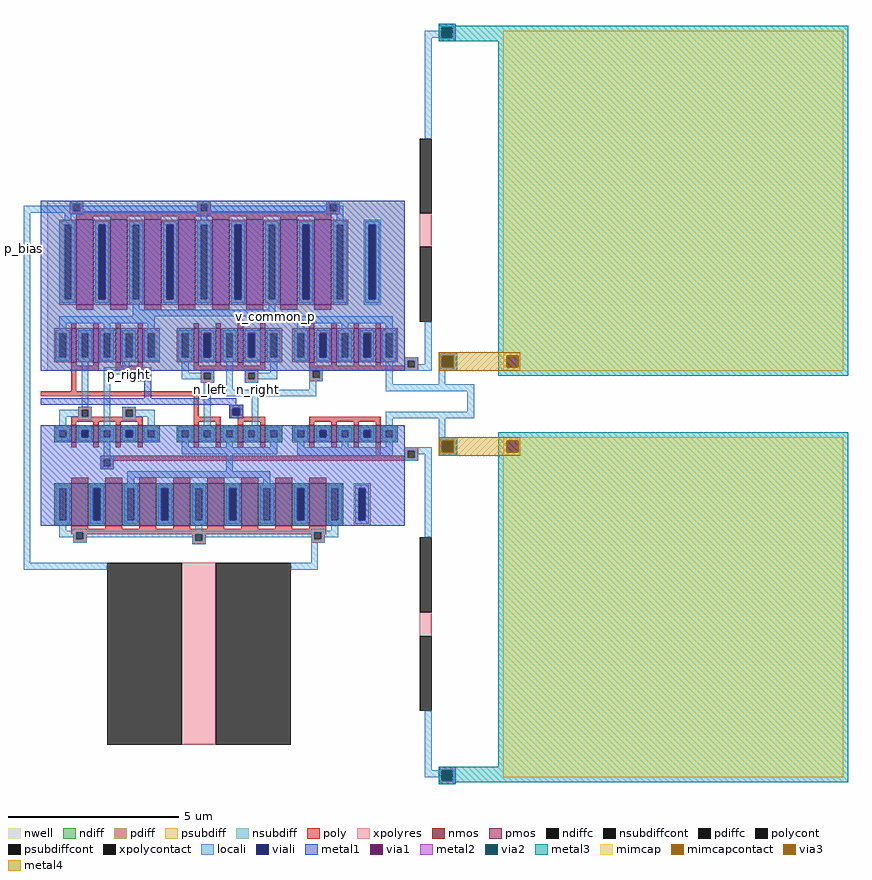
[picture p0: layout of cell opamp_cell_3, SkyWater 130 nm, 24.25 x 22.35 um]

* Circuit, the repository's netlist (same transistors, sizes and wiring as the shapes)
* NGSPICE file created from opamp_cell_3.ext - technology: sky130A

**.subckt opamp_cell_3
X0 w_8020_4370# n_left n_left w_8020_4370# sky130_fd_pr__pfet_01v8 ad=0.25 pd=1.5 as=0.5 ps=3 w=1 l=0.15
X1 a_8190_3950# p_right a_9460_3950# a_8190_3950# sky130_fd_pr__nfet_01v8 ad=0.125 pd=1 as=0.25 ps=2 w=0.5 l=0.15
X2 a_8190_3950# a_8060_3950# a_8060_3950# a_8190_3950# sky130_fd_pr__nfet_01v8 ad=0.125 pd=1 as=0.25 ps=2 w=0.5 l=0.15
X3 a_9460_3950# n_right w_8020_4370# w_8020_4370# sky130_fd_pr__pfet_01v8 ad=0.25 pd=1.5 as=0.25 ps=1.5 w=1 l=0.15
X4 v_common_p p_bias w_8020_4370# w_8020_4370# sky130_fd_pr__pfet_01v8 ad=0.625 pd=3 as=0.625 ps=3 w=2.5 l=0.5
X5 v_common_p a_7980_4220# a_8060_3950# w_8020_4370# sky130_fd_pr__pfet_01v8 ad=0.25 pd=1.5 as=0.25 ps=1.5 w=1 l=0.15
X6 p_bias p_bias w_8020_4370# w_8020_4370# sky130_fd_pr__pfet_01v8 ad=1.25 pd=6 as=0.625 ps=3 w=2.5 l=0.5
X7 a_8460_3460# a_8060_3460# a_8190_3950# a_8190_3950# sky130_fd_pr__nfet_01v8 ad=0.3125 pd=1.75 as=0.3125 ps=1.75 w=1.25 l=0.5
X8 w_8020_4370# n_right a_9460_3950# w_8020_4370# sky130_fd_pr__pfet_01v8 ad=0.25 pd=1.5 as=0.5 ps=3 w=1 l=0.15
X9 a_8060_3460# a_8060_3460# a_8190_3950# a_8190_3950# sky130_fd_pr__nfet_01v8 ad=0.625 pd=3.5 as=0.3125 ps=1.75 w=1.25 l=0.5
X10 w_8020_4370# p_bias p_bias w_8020_4370# sky130_fd_pr__pfet_01v8 ad=0.625 pd=3 as=1.25 ps=6 w=2.5 l=0.5
X11 w_8020_4370# p_bias v_common_p w_8020_4370# sky130_fd_pr__pfet_01v8 ad=0.625 pd=3 as=0.625 ps=3 w=2.5 l=0.5
X12 w_8020_4370# p_bias p_bias w_8020_4370# sky130_fd_pr__pfet_01v8 ad=0.625 pd=3 as=0.625 ps=3 w=2.5 l=0.5
X13 a_8060_3950# a_7980_4220# v_common_p w_8020_4370# sky130_fd_pr__pfet_01v8 ad=0.25 pd=1.5 as=0.5 ps=3 w=1 l=0.15
X14 a_8190_3950# a_8060_3460# a_8060_3460# a_8190_3950# sky130_fd_pr__nfet_01v8 ad=0.3125 pd=1.75 as=0.625 ps=3.5 w=1.25 l=0.5
X15 a_9460_3950# p_right a_8190_3950# a_8190_3950# sky130_fd_pr__nfet_01v8 ad=0.25 pd=2 as=0.125 ps=1 w=0.5 l=0.15
X16 a_8190_3950# a_8060_3460# a_8460_3460# a_8190_3950# sky130_fd_pr__nfet_01v8 ad=0.3125 pd=1.75 as=0.3125 ps=1.75 w=1.25 l=0.5
X17 a_8190_3950# a_8060_3460# a_8060_3460# a_8190_3950# sky130_fd_pr__nfet_01v8 ad=0.3125 pd=1.75 as=0.3125 ps=1.75 w=1.25 l=0.5
X18 a_8060_3950# a_8060_3950# a_8190_3950# a_8190_3950# sky130_fd_pr__nfet_01v8 ad=0.25 pd=2 as=0.125 ps=1 w=0.5 l=0.15
X19 p_right a_10210_2370# a_8190_3950# sky130_fd_pr__res_xhigh_po_0p35 l=0.86
X20 a_8460_3460# w_8020_4370# n_right a_8190_3950# sky130_fd_pr__nfet_01v8 ad=0.25 pd=2 as=0.125 ps=1 w=0.5 l=0.15
X21 a_9460_3950# a_10210_2370# sky130_fd_pr__cap_mim_m3_1 l=10 w=10
X22 a_8190_3950# p_right a_9460_3950# a_8190_3950# sky130_fd_pr__nfet_01v8 ad=0.125 pd=1 as=0.125 ps=1 w=0.5 l=0.15
X23 a_9460_3950# a_10210_5296# sky130_fd_pr__cap_mim_m3_1 l=10 w=10
X24 a_8190_3950# a_8060_3950# p_right a_8190_3950# sky130_fd_pr__nfet_01v8 ad=0.125 pd=1 as=0.125 ps=1 w=0.5 l=0.15
X25 a_9460_3950# n_right w_8020_4370# w_8020_4370# sky130_fd_pr__pfet_01v8 ad=0.5 pd=3 as=0.25 ps=1.5 w=1 l=0.15
X26 n_right w_8020_4370# a_8460_3460# a_8190_3950# sky130_fd_pr__nfet_01v8 ad=0.125 pd=1 as=0.125 ps=1 w=0.5 l=0.15
X27 p_bias a_8060_3460# a_8190_3950# sky130_fd_pr__res_xhigh_po w=5.35 l=1.16
X28 v_common_p w_8020_4370# p_right w_8020_4370# sky130_fd_pr__pfet_01v8 ad=0.5 pd=3 as=0.25 ps=1.5 w=1 l=0.15
X29 w_8020_4370# p_bias v_common_p w_8020_4370# sky130_fd_pr__pfet_01v8 ad=0.625 pd=3 as=0.625 ps=3 w=2.5 l=0.5
X30 n_left n_left w_8020_4370# w_8020_4370# sky130_fd_pr__pfet_01v8 ad=0.5 pd=3 as=0.25 ps=1.5 w=1 l=0.15
X31 w_8020_4370# n_right a_9460_3950# w_8020_4370# sky130_fd_pr__pfet_01v8 ad=0.25 pd=1.5 as=0.25 ps=1.5 w=1 l=0.15
X32 a_8460_3460# a_7980_4220# n_left a_8190_3950# sky130_fd_pr__nfet_01v8 ad=0.125 pd=1 as=0.125 ps=1 w=0.5 l=0.15
X33 a_10210_5296# n_right a_8190_3950# sky130_fd_pr__res_xhigh_po_0p35 l=1.14
X34 a_8190_3950# a_8060_3460# a_8460_3460# a_8190_3950# sky130_fd_pr__nfet_01v8 ad=0.3125 pd=1.75 as=0.3125 ps=1.75 w=1.25 l=0.5
X35 v_common_p p_bias w_8020_4370# w_8020_4370# sky130_fd_pr__pfet_01v8 ad=0.625 pd=3 as=0.625 ps=3 w=2.5 l=0.5
X36 p_right w_8020_4370# v_common_p w_8020_4370# sky130_fd_pr__pfet_01v8 ad=0.25 pd=1.5 as=0.25 ps=1.5 w=1 l=0.15
X37 n_left a_7980_4220# a_8460_3460# a_8190_3950# sky130_fd_pr__nfet_01v8 ad=0.125 pd=1 as=0.25 ps=2 w=0.5 l=0.15
X38 p_bias p_bias w_8020_4370# w_8020_4370# sky130_fd_pr__pfet_01v8 ad=0.625 pd=3 as=0.625 ps=3 w=2.5 l=0.5
X39 w_8020_4370# n_left n_right w_8020_4370# sky130_fd_pr__pfet_01v8 ad=0.25 pd=1.5 as=0.25 ps=1.5 w=1 l=0.15
X40 a_8460_3460# a_8060_3460# a_8190_3950# a_8190_3950# sky130_fd_pr__nfet_01v8 ad=0.3125 pd=1.75 as=0.3125 ps=1.75 w=1.25 l=0.5
X41 a_9460_3950# p_right a_8190_3950# a_8190_3950# sky130_fd_pr__nfet_01v8 ad=0.125 pd=1 as=0.125 ps=1 w=0.5 l=0.15
X42 a_8060_3460# a_8060_3460# a_8190_3950# a_8190_3950# sky130_fd_pr__nfet_01v8 ad=0.3125 pd=1.75 as=0.3125 ps=1.75 w=1.25 l=0.5
X43 p_right a_8060_3950# a_8190_3950# a_8190_3950# sky130_fd_pr__nfet_01v8 ad=0.125 pd=1 as=0.125 ps=1 w=0.5 l=0.15
X44 n_right n_left w_8020_4370# w_8020_4370# sky130_fd_pr__pfet_01v8 ad=0.25 pd=1.5 as=0.25 ps=1.5 w=1 l=0.15
.ends

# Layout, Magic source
magic
tech sky130A
<< nwell >>
rect 4010 2185 5060 2685
<< nmos >>
rect 4080 1975 4095 2025
rect 4145 1975 4160 2025
rect 4210 1975 4225 2025
rect 4275 1975 4290 2025
rect 4440 1975 4455 2025
rect 4505 1975 4520 2025
rect 4570 1975 4585 2025
rect 4635 1975 4650 2025
rect 4780 1975 4795 2025
rect 4845 1975 4860 2025
rect 4910 1975 4925 2025
rect 4975 1975 4990 2025
rect 4080 1730 4130 1855
rect 4180 1730 4230 1855
rect 4280 1730 4330 1855
rect 4380 1730 4430 1855
rect 4480 1730 4530 1855
rect 4580 1730 4630 1855
rect 4680 1730 4730 1855
rect 4780 1730 4830 1855
<< pmos >>
rect 4095 2380 4145 2630
rect 4195 2380 4245 2630
rect 4295 2380 4345 2630
rect 4395 2380 4445 2630
rect 4495 2380 4545 2630
rect 4595 2380 4645 2630
rect 4695 2380 4745 2630
rect 4795 2380 4845 2630
rect 4080 2210 4095 2310
rect 4145 2210 4160 2310
rect 4210 2210 4225 2310
rect 4275 2210 4290 2310
rect 4440 2210 4455 2310
rect 4505 2210 4520 2310
rect 4570 2210 4585 2310
rect 4635 2210 4650 2310
rect 4780 2210 4795 2310
rect 4845 2210 4860 2310
rect 4910 2210 4925 2310
rect 4975 2210 4990 2310
<< ndiff >>
rect 4030 2010 4080 2025
rect 4030 1990 4045 2010
rect 4065 1990 4080 2010
rect 4030 1975 4080 1990
rect 4095 2010 4145 2025
rect 4095 1990 4110 2010
rect 4130 1990 4145 2010
rect 4095 1975 4145 1990
rect 4160 2010 4210 2025
rect 4160 1990 4175 2010
rect 4195 1990 4210 2010
rect 4160 1975 4210 1990
rect 4225 2010 4275 2025
rect 4225 1990 4240 2010
rect 4260 1990 4275 2010
rect 4225 1975 4275 1990
rect 4290 2010 4340 2025
rect 4290 1990 4305 2010
rect 4325 1990 4340 2010
rect 4290 1975 4340 1990
rect 4390 2010 4440 2025
rect 4390 1990 4405 2010
rect 4425 1990 4440 2010
rect 4390 1975 4440 1990
rect 4455 2010 4505 2025
rect 4455 1990 4470 2010
rect 4490 1990 4505 2010
rect 4455 1975 4505 1990
rect 4520 2010 4570 2025
rect 4520 1990 4535 2010
rect 4555 1990 4570 2010
rect 4520 1975 4570 1990
rect 4585 2010 4635 2025
rect 4585 1990 4600 2010
rect 4620 1990 4635 2010
rect 4585 1975 4635 1990
rect 4650 2010 4700 2025
rect 4650 1990 4665 2010
rect 4685 1990 4700 2010
rect 4650 1975 4700 1990
rect 4730 2010 4780 2025
rect 4730 1990 4745 2010
rect 4765 1990 4780 2010
rect 4730 1975 4780 1990
rect 4795 2010 4845 2025
rect 4795 1990 4810 2010
rect 4830 1990 4845 2010
rect 4795 1975 4845 1990
rect 4860 2010 4910 2025
rect 4860 1990 4875 2010
rect 4895 1990 4910 2010
rect 4860 1975 4910 1990
rect 4925 2010 4975 2025
rect 4925 1990 4940 2010
rect 4960 1990 4975 2010
rect 4925 1975 4975 1990
rect 4990 2010 5040 2025
rect 4990 1990 5005 2010
rect 5025 1990 5040 2010
rect 4990 1975 5040 1990
rect 4030 1840 4080 1855
rect 4030 1745 4045 1840
rect 4065 1745 4080 1840
rect 4030 1730 4080 1745
rect 4130 1840 4180 1855
rect 4130 1745 4145 1840
rect 4165 1745 4180 1840
rect 4130 1730 4180 1745
rect 4230 1840 4280 1855
rect 4230 1745 4245 1840
rect 4265 1745 4280 1840
rect 4230 1730 4280 1745
rect 4330 1840 4380 1855
rect 4330 1745 4345 1840
rect 4365 1745 4380 1840
rect 4330 1730 4380 1745
rect 4430 1840 4480 1855
rect 4430 1745 4445 1840
rect 4465 1745 4480 1840
rect 4430 1730 4480 1745
rect 4530 1840 4580 1855
rect 4530 1745 4545 1840
rect 4565 1745 4580 1840
rect 4530 1730 4580 1745
rect 4630 1840 4680 1855
rect 4630 1745 4645 1840
rect 4665 1745 4680 1840
rect 4630 1730 4680 1745
rect 4730 1840 4780 1855
rect 4730 1745 4745 1840
rect 4765 1745 4780 1840
rect 4730 1730 4780 1745
rect 4830 1840 4880 1855
rect 4830 1745 4845 1840
rect 4865 1745 4880 1840
rect 4830 1730 4880 1745
<< pdiff >>
rect 4045 2615 4095 2630
rect 4045 2395 4060 2615
rect 4080 2395 4095 2615
rect 4045 2380 4095 2395
rect 4145 2615 4195 2630
rect 4145 2395 4160 2615
rect 4180 2395 4195 2615
rect 4145 2380 4195 2395
rect 4245 2615 4295 2630
rect 4245 2395 4260 2615
rect 4280 2395 4295 2615
rect 4245 2380 4295 2395
rect 4345 2615 4395 2630
rect 4345 2395 4360 2615
rect 4380 2395 4395 2615
rect 4345 2380 4395 2395
rect 4445 2615 4495 2630
rect 4445 2395 4460 2615
rect 4480 2395 4495 2615
rect 4445 2380 4495 2395
rect 4545 2615 4595 2630
rect 4545 2395 4560 2615
rect 4580 2395 4595 2615
rect 4545 2380 4595 2395
rect 4645 2615 4695 2630
rect 4645 2395 4660 2615
rect 4680 2395 4695 2615
rect 4645 2380 4695 2395
rect 4745 2615 4795 2630
rect 4745 2395 4760 2615
rect 4780 2395 4795 2615
rect 4745 2380 4795 2395
rect 4845 2615 4895 2630
rect 4845 2395 4860 2615
rect 4880 2395 4895 2615
rect 4845 2380 4895 2395
rect 4030 2295 4080 2310
rect 4030 2225 4045 2295
rect 4065 2225 4080 2295
rect 4030 2210 4080 2225
rect 4095 2295 4145 2310
rect 4095 2225 4110 2295
rect 4130 2225 4145 2295
rect 4095 2210 4145 2225
rect 4160 2295 4210 2310
rect 4160 2225 4175 2295
rect 4195 2225 4210 2295
rect 4160 2210 4210 2225
rect 4225 2295 4275 2310
rect 4225 2225 4240 2295
rect 4260 2225 4275 2295
rect 4225 2210 4275 2225
rect 4290 2295 4340 2310
rect 4290 2225 4305 2295
rect 4325 2225 4340 2295
rect 4290 2210 4340 2225
rect 4390 2295 4440 2310
rect 4390 2225 4405 2295
rect 4425 2225 4440 2295
rect 4390 2210 4440 2225
rect 4455 2295 4505 2310
rect 4455 2225 4470 2295
rect 4490 2225 4505 2295
rect 4455 2210 4505 2225
rect 4520 2295 4570 2310
rect 4520 2225 4535 2295
rect 4555 2225 4570 2295
rect 4520 2210 4570 2225
rect 4585 2295 4635 2310
rect 4585 2225 4600 2295
rect 4620 2225 4635 2295
rect 4585 2210 4635 2225
rect 4650 2295 4700 2310
rect 4650 2225 4665 2295
rect 4685 2225 4700 2295
rect 4650 2210 4700 2225
rect 4730 2295 4780 2310
rect 4730 2225 4745 2295
rect 4765 2225 4780 2295
rect 4730 2210 4780 2225
rect 4795 2295 4845 2310
rect 4795 2225 4810 2295
rect 4830 2225 4845 2295
rect 4795 2210 4845 2225
rect 4860 2295 4910 2310
rect 4860 2225 4875 2295
rect 4895 2225 4910 2295
rect 4860 2210 4910 2225
rect 4925 2295 4975 2310
rect 4925 2225 4940 2295
rect 4960 2225 4975 2295
rect 4925 2210 4975 2225
rect 4990 2295 5040 2310
rect 4990 2225 5005 2295
rect 5025 2225 5040 2295
rect 4990 2210 5040 2225
<< ndiffc >>
rect 4045 1990 4065 2010
rect 4110 1990 4130 2010
rect 4175 1990 4195 2010
rect 4240 1990 4260 2010
rect 4305 1990 4325 2010
rect 4405 1990 4425 2010
rect 4470 1990 4490 2010
rect 4535 1990 4555 2010
rect 4600 1990 4620 2010
rect 4665 1990 4685 2010
rect 4745 1990 4765 2010
rect 4810 1990 4830 2010
rect 4875 1990 4895 2010
rect 4940 1990 4960 2010
rect 5005 1990 5025 2010
rect 4045 1745 4065 1840
rect 4145 1745 4165 1840
rect 4245 1745 4265 1840
rect 4345 1745 4365 1840
rect 4445 1745 4465 1840
rect 4545 1745 4565 1840
rect 4645 1745 4665 1840
rect 4745 1745 4765 1840
rect 4845 1745 4865 1840
<< pdiffc >>
rect 4060 2395 4080 2615
rect 4160 2395 4180 2615
rect 4260 2395 4280 2615
rect 4360 2395 4380 2615
rect 4460 2395 4480 2615
rect 4560 2395 4580 2615
rect 4660 2395 4680 2615
rect 4760 2395 4780 2615
rect 4860 2395 4880 2615
rect 4045 2225 4065 2295
rect 4110 2225 4130 2295
rect 4175 2225 4195 2295
rect 4240 2225 4260 2295
rect 4305 2225 4325 2295
rect 4405 2225 4425 2295
rect 4470 2225 4490 2295
rect 4535 2225 4555 2295
rect 4600 2225 4620 2295
rect 4665 2225 4685 2295
rect 4745 2225 4765 2295
rect 4810 2225 4830 2295
rect 4875 2225 4895 2295
rect 4940 2225 4960 2295
rect 5005 2225 5025 2295
<< psubdiff >>
rect 4910 1840 4960 1855
rect 4910 1745 4925 1840
rect 4945 1745 4960 1840
rect 4910 1730 4960 1745
<< nsubdiff >>
rect 4940 2615 4990 2630
rect 4940 2395 4955 2615
rect 4975 2395 4990 2615
rect 4940 2380 4990 2395
<< psubdiffcont >>
rect 4925 1745 4945 1840
<< nsubdiffcont >>
rect 4955 2395 4975 2615
<< poly >>
rect 4075 2675 4115 2685
rect 4075 2655 4085 2675
rect 4105 2655 4115 2675
rect 4450 2675 4490 2685
rect 4450 2655 4460 2675
rect 4480 2655 4490 2675
rect 4830 2675 4870 2685
rect 4830 2655 4840 2675
rect 4860 2655 4870 2675
rect 4075 2645 4870 2655
rect 4095 2640 4845 2645
rect 4095 2630 4145 2640
rect 4195 2630 4245 2640
rect 4295 2630 4345 2640
rect 4395 2630 4445 2640
rect 4495 2630 4545 2640
rect 4595 2630 4645 2640
rect 4695 2630 4745 2640
rect 4795 2630 4845 2640
rect 4095 2365 4145 2380
rect 4195 2365 4245 2380
rect 4295 2365 4345 2380
rect 4395 2365 4445 2380
rect 4495 2365 4545 2380
rect 4595 2365 4645 2380
rect 4695 2365 4745 2380
rect 4795 2365 4845 2380
rect 4080 2310 4095 2325
rect 4145 2310 4160 2325
rect 4210 2310 4225 2325
rect 4275 2310 4290 2325
rect 4440 2310 4455 2325
rect 4505 2310 4520 2325
rect 4570 2310 4585 2325
rect 4635 2310 4650 2325
rect 4780 2310 4795 2325
rect 4845 2310 4860 2325
rect 4910 2310 4925 2325
rect 4975 2310 4990 2325
rect 5060 2215 5100 2225
rect 4080 2200 4095 2210
rect 4145 2200 4160 2210
rect 4080 2185 4160 2200
rect 4210 2200 4225 2210
rect 4275 2200 4290 2210
rect 4210 2195 4290 2200
rect 4440 2200 4455 2210
rect 4505 2200 4520 2210
rect 4570 2200 4585 2210
rect 4635 2200 4650 2210
rect 4210 2185 4315 2195
rect 4440 2185 4650 2200
rect 4780 2200 4795 2210
rect 4845 2200 4860 2210
rect 4910 2200 4925 2210
rect 4975 2200 4990 2210
rect 5060 2200 5070 2215
rect 4780 2195 5070 2200
rect 5090 2195 5100 2215
rect 4780 2185 5100 2195
rect 4080 2125 4095 2185
rect 4275 2165 4285 2185
rect 4305 2165 4315 2185
rect 4275 2155 4315 2165
rect 4460 2180 4500 2185
rect 4460 2160 4470 2180
rect 4490 2160 4500 2180
rect 4460 2150 4500 2160
rect 4590 2180 4630 2185
rect 4590 2160 4600 2180
rect 4620 2160 4630 2180
rect 4590 2150 4630 2160
rect 4780 2165 4790 2185
rect 4810 2165 4820 2185
rect 4780 2155 4820 2165
rect 3990 2110 4455 2125
rect 4100 2070 4140 2080
rect 4100 2050 4110 2070
rect 4130 2050 4140 2070
rect 4230 2070 4270 2080
rect 4230 2050 4240 2070
rect 4260 2050 4270 2070
rect 4440 2050 4455 2110
rect 4545 2075 4585 2085
rect 4545 2055 4555 2075
rect 4575 2055 4585 2075
rect 4545 2050 4585 2055
rect 4080 2035 4290 2050
rect 4080 2025 4095 2035
rect 4145 2025 4160 2035
rect 4210 2025 4225 2035
rect 4275 2025 4290 2035
rect 4440 2035 4520 2050
rect 4545 2045 4650 2050
rect 4440 2025 4455 2035
rect 4505 2025 4520 2035
rect 4570 2035 4650 2045
rect 4570 2025 4585 2035
rect 4635 2025 4650 2035
rect 4780 2035 4990 2050
rect 4780 2025 4795 2035
rect 4845 2025 4860 2035
rect 4910 2025 4925 2035
rect 4975 2025 4990 2035
rect 4080 1960 4095 1975
rect 4145 1960 4160 1975
rect 4210 1960 4225 1975
rect 4275 1960 4290 1975
rect 4440 1960 4455 1975
rect 4505 1960 4520 1975
rect 4570 1960 4585 1975
rect 4635 1960 4650 1975
rect 4780 1960 4795 1975
rect 4845 1960 4860 1975
rect 4910 1960 4925 1975
rect 4975 1935 4990 1975
rect 5060 1950 5100 1960
rect 5060 1935 5070 1950
rect 4165 1930 5070 1935
rect 5090 1930 5100 1950
rect 4165 1925 5100 1930
rect 4165 1905 4175 1925
rect 4195 1920 5100 1925
rect 4195 1905 4205 1920
rect 4165 1895 4205 1905
rect 4080 1855 4130 1870
rect 4180 1855 4230 1870
rect 4280 1855 4330 1870
rect 4380 1855 4430 1870
rect 4480 1855 4530 1870
rect 4580 1855 4630 1870
rect 4680 1855 4730 1870
rect 4780 1855 4830 1870
rect 4080 1720 4130 1730
rect 4180 1720 4230 1730
rect 4280 1720 4330 1730
rect 4380 1720 4430 1730
rect 4480 1720 4530 1730
rect 4580 1720 4630 1730
rect 4680 1720 4730 1730
rect 4780 1720 4830 1730
rect 4080 1710 4830 1720
rect 4080 1705 4095 1710
rect 4085 1690 4095 1705
rect 4115 1705 4795 1710
rect 4115 1690 4125 1705
rect 4085 1680 4125 1690
rect 4435 1685 4445 1705
rect 4465 1685 4475 1705
rect 4435 1675 4475 1685
rect 4785 1690 4795 1705
rect 4815 1705 4830 1710
rect 4815 1690 4825 1705
rect 4785 1680 4825 1690
<< polycont >>
rect 4085 2655 4105 2675
rect 4460 2655 4480 2675
rect 4840 2655 4860 2675
rect 5070 2195 5090 2215
rect 4285 2165 4305 2185
rect 4470 2160 4490 2180
rect 4600 2160 4620 2180
rect 4790 2165 4810 2185
rect 4110 2050 4130 2070
rect 4240 2050 4260 2070
rect 4555 2055 4575 2075
rect 5070 1930 5090 1950
rect 4175 1905 4195 1925
rect 4095 1690 4115 1710
rect 4445 1685 4465 1705
rect 4795 1690 4815 1710
<< xpolycontact >>
rect 5105 2648 5140 2868
rect 5105 2330 5140 2550
rect 4185 1085 4405 1620
rect 4505 1085 4725 1620
rect 5105 1475 5140 1695
rect 5105 1185 5140 1405
<< xpolyres >>
rect 5105 2550 5140 2648
rect 4405 1085 4505 1620
rect 5105 1405 5140 1475
<< locali >>
rect 5160 3195 5210 3205
rect 5160 3185 5170 3195
rect 5120 3165 5170 3185
rect 5200 3165 5210 3195
rect 5120 2868 5140 3165
rect 5160 3155 5210 3165
rect 4075 2675 4115 2685
rect 4075 2670 4085 2675
rect 3940 2655 4085 2670
rect 4105 2670 4115 2675
rect 4450 2675 4490 2685
rect 4450 2670 4460 2675
rect 4105 2655 4460 2670
rect 4480 2670 4490 2675
rect 4830 2675 4870 2685
rect 4830 2670 4840 2675
rect 4480 2655 4840 2670
rect 4860 2670 4870 2675
rect 4860 2655 4880 2670
rect 3940 2650 4880 2655
rect 3940 1620 3960 2650
rect 4060 2645 4115 2650
rect 4450 2645 4490 2650
rect 4830 2645 4880 2650
rect 4060 2625 4080 2645
rect 4460 2625 4480 2645
rect 4860 2625 4880 2645
rect 4045 2615 4090 2625
rect 4045 2395 4060 2615
rect 4080 2395 4090 2615
rect 4045 2385 4090 2395
rect 4150 2615 4190 2625
rect 4150 2395 4160 2615
rect 4180 2395 4190 2615
rect 4150 2385 4190 2395
rect 4250 2615 4290 2625
rect 4250 2395 4260 2615
rect 4280 2395 4290 2615
rect 4250 2385 4290 2395
rect 4350 2615 4390 2625
rect 4350 2395 4360 2615
rect 4380 2395 4390 2615
rect 4350 2385 4390 2395
rect 4450 2615 4490 2625
rect 4450 2395 4460 2615
rect 4480 2395 4490 2615
rect 4450 2385 4490 2395
rect 4550 2615 4590 2625
rect 4550 2395 4560 2615
rect 4580 2395 4590 2615
rect 4550 2385 4590 2395
rect 4650 2615 4690 2625
rect 4650 2395 4660 2615
rect 4680 2395 4690 2615
rect 4650 2385 4690 2395
rect 4750 2615 4790 2625
rect 4750 2395 4760 2615
rect 4780 2395 4790 2615
rect 4750 2385 4790 2395
rect 4850 2615 4890 2625
rect 4850 2395 4860 2615
rect 4880 2395 4890 2615
rect 4850 2385 4890 2395
rect 4945 2615 4985 2625
rect 4945 2395 4955 2615
rect 4975 2395 4985 2615
rect 4945 2385 4985 2395
rect 4260 2365 4280 2385
rect 4660 2365 4680 2385
rect 4260 2345 4680 2365
rect 4045 2325 4325 2345
rect 4045 2305 4065 2325
rect 4175 2305 4195 2325
rect 4305 2305 4325 2325
rect 4745 2325 5025 2345
rect 4745 2305 4765 2325
rect 4875 2305 4895 2325
rect 5005 2305 5025 2325
rect 4035 2295 4075 2305
rect 4035 2225 4045 2295
rect 4065 2225 4075 2295
rect 4035 2215 4075 2225
rect 4100 2295 4140 2305
rect 4100 2225 4110 2295
rect 4130 2225 4140 2295
rect 4100 2215 4140 2225
rect 4165 2295 4205 2305
rect 4165 2225 4175 2295
rect 4195 2225 4205 2295
rect 4165 2215 4205 2225
rect 4230 2295 4270 2305
rect 4230 2225 4240 2295
rect 4260 2225 4270 2295
rect 4230 2215 4270 2225
rect 4295 2295 4340 2305
rect 4295 2225 4305 2295
rect 4325 2225 4340 2295
rect 4295 2215 4340 2225
rect 4395 2295 4435 2305
rect 4395 2225 4405 2295
rect 4425 2225 4435 2295
rect 4395 2215 4435 2225
rect 4460 2295 4500 2305
rect 4460 2225 4470 2295
rect 4490 2225 4500 2295
rect 4460 2215 4500 2225
rect 4525 2295 4565 2305
rect 4525 2225 4535 2295
rect 4555 2225 4565 2295
rect 4525 2215 4565 2225
rect 4590 2295 4635 2305
rect 4590 2225 4600 2295
rect 4620 2225 4635 2295
rect 4590 2215 4635 2225
rect 4655 2295 4695 2305
rect 4655 2225 4665 2295
rect 4685 2225 4695 2295
rect 4655 2215 4695 2225
rect 4735 2295 4775 2305
rect 4735 2225 4745 2295
rect 4765 2225 4775 2295
rect 4735 2215 4775 2225
rect 4800 2295 4840 2305
rect 4800 2225 4810 2295
rect 4830 2225 4840 2295
rect 4800 2215 4840 2225
rect 4865 2295 4905 2305
rect 4865 2225 4875 2295
rect 4895 2225 4905 2295
rect 4865 2215 4905 2225
rect 4930 2295 4970 2305
rect 4930 2225 4940 2295
rect 4960 2225 4970 2295
rect 4930 2215 4970 2225
rect 4995 2295 5035 2305
rect 4995 2225 5005 2295
rect 5025 2225 5035 2295
rect 4995 2215 5035 2225
rect 5060 2215 5100 2225
rect 4110 2080 4130 2215
rect 4230 2195 4250 2215
rect 4175 2175 4250 2195
rect 4275 2185 4315 2195
rect 4100 2070 4140 2080
rect 4045 2050 4110 2070
rect 4130 2050 4140 2070
rect 4045 2020 4065 2050
rect 4100 2040 4140 2050
rect 4175 2020 4195 2175
rect 4275 2165 4285 2185
rect 4305 2165 4315 2185
rect 4275 2155 4315 2165
rect 4405 2180 4425 2215
rect 4460 2180 4500 2190
rect 4405 2160 4470 2180
rect 4490 2160 4500 2180
rect 4460 2150 4500 2160
rect 4230 2070 4270 2080
rect 4230 2050 4240 2070
rect 4260 2050 4325 2070
rect 4230 2040 4270 2050
rect 4305 2020 4325 2050
rect 4470 2020 4490 2150
rect 4535 2130 4555 2215
rect 4590 2180 4630 2190
rect 4665 2180 4685 2215
rect 4590 2160 4600 2180
rect 4620 2160 4685 2180
rect 4780 2185 4820 2195
rect 4780 2165 4790 2185
rect 4810 2165 4820 2185
rect 4590 2150 4630 2160
rect 4780 2155 4820 2165
rect 4780 2130 4800 2155
rect 4535 2110 4800 2130
rect 5005 2145 5025 2215
rect 5060 2195 5070 2215
rect 5090 2205 5100 2215
rect 5120 2205 5140 2330
rect 5090 2195 5140 2205
rect 5060 2185 5140 2195
rect 5160 2230 5215 2240
rect 5160 2195 5170 2230
rect 5205 2195 5215 2230
rect 5160 2185 5215 2195
rect 5160 2145 5180 2185
rect 5005 2125 5265 2145
rect 4545 2075 4585 2085
rect 4545 2055 4555 2075
rect 4575 2055 4585 2075
rect 4545 2045 4585 2055
rect 4610 2020 4630 2110
rect 5245 2065 5265 2125
rect 5005 2045 5265 2065
rect 5005 2020 5025 2045
rect 4035 2010 4075 2020
rect 4035 1990 4045 2010
rect 4065 1990 4075 2010
rect 4035 1980 4075 1990
rect 4100 2010 4140 2020
rect 4100 1990 4110 2010
rect 4130 1990 4140 2010
rect 4100 1980 4140 1990
rect 4165 2010 4205 2020
rect 4165 1990 4175 2010
rect 4195 1990 4205 2010
rect 4165 1980 4205 1990
rect 4230 2010 4270 2020
rect 4230 1990 4240 2010
rect 4260 1990 4270 2010
rect 4230 1980 4270 1990
rect 4295 2010 4335 2020
rect 4295 1990 4305 2010
rect 4325 1990 4335 2010
rect 4295 1980 4335 1990
rect 4395 2010 4435 2020
rect 4395 1990 4405 2010
rect 4425 1990 4435 2010
rect 4395 1980 4435 1990
rect 4460 2010 4500 2020
rect 4460 1990 4470 2010
rect 4490 1990 4500 2010
rect 4460 1980 4500 1990
rect 4525 2010 4565 2020
rect 4525 1990 4535 2010
rect 4555 1990 4565 2010
rect 4525 1980 4565 1990
rect 4590 2010 4630 2020
rect 4590 1990 4600 2010
rect 4620 1990 4630 2010
rect 4590 1980 4630 1990
rect 4655 2010 4695 2020
rect 4655 1990 4665 2010
rect 4685 1990 4695 2010
rect 4655 1980 4695 1990
rect 4735 2010 4775 2020
rect 4735 1990 4745 2010
rect 4765 1990 4775 2010
rect 4735 1980 4775 1990
rect 4800 2010 4840 2020
rect 4800 1990 4810 2010
rect 4830 1990 4840 2010
rect 4800 1980 4840 1990
rect 4865 2010 4905 2020
rect 4865 1990 4875 2010
rect 4895 1990 4905 2010
rect 4865 1980 4905 1990
rect 4930 2010 4970 2020
rect 4930 1990 4940 2010
rect 4960 1990 4970 2010
rect 4930 1980 4970 1990
rect 4995 2010 5035 2020
rect 4995 1990 5005 2010
rect 5025 1990 5035 2010
rect 4995 1980 5035 1990
rect 5160 1990 5180 2045
rect 5160 1980 5215 1990
rect 4175 1935 4195 1980
rect 4405 1960 4425 1980
rect 4535 1960 4555 1980
rect 4665 1960 4685 1980
rect 4405 1940 4685 1960
rect 4745 1960 4765 1980
rect 4875 1960 4895 1980
rect 5005 1960 5025 1980
rect 4165 1925 4205 1935
rect 4165 1905 4175 1925
rect 4195 1905 4205 1925
rect 4165 1895 4205 1905
rect 4535 1890 4555 1940
rect 4745 1935 5025 1960
rect 5060 1950 5140 1960
rect 5060 1930 5070 1950
rect 5090 1940 5140 1950
rect 5090 1930 5100 1940
rect 5060 1920 5100 1930
rect 4245 1870 4665 1890
rect 4245 1850 4265 1870
rect 4645 1850 4665 1870
rect 4035 1840 4075 1850
rect 4035 1745 4045 1840
rect 4065 1745 4075 1840
rect 4035 1735 4075 1745
rect 4135 1840 4175 1850
rect 4135 1745 4145 1840
rect 4165 1745 4175 1840
rect 4135 1735 4175 1745
rect 4235 1840 4275 1850
rect 4235 1745 4245 1840
rect 4265 1745 4275 1840
rect 4235 1735 4275 1745
rect 4335 1840 4375 1850
rect 4335 1745 4345 1840
rect 4365 1745 4375 1840
rect 4335 1735 4375 1745
rect 4435 1840 4475 1850
rect 4435 1745 4445 1840
rect 4465 1745 4475 1840
rect 4435 1735 4475 1745
rect 4535 1840 4575 1850
rect 4535 1745 4545 1840
rect 4565 1745 4575 1840
rect 4535 1735 4575 1745
rect 4635 1840 4675 1850
rect 4635 1745 4645 1840
rect 4665 1745 4675 1840
rect 4635 1735 4675 1745
rect 4735 1840 4775 1850
rect 4735 1745 4745 1840
rect 4765 1745 4775 1840
rect 4735 1735 4775 1745
rect 4835 1840 4875 1850
rect 4835 1745 4845 1840
rect 4865 1745 4875 1840
rect 4835 1735 4875 1745
rect 4915 1840 4955 1850
rect 4915 1745 4925 1840
rect 4945 1745 4955 1840
rect 4915 1735 4955 1745
rect 4045 1715 4065 1735
rect 4085 1715 4125 1720
rect 4445 1715 4465 1735
rect 4785 1715 4825 1720
rect 4845 1715 4865 1735
rect 4045 1710 4865 1715
rect 4045 1695 4095 1710
rect 4085 1690 4095 1695
rect 4115 1705 4795 1710
rect 4115 1695 4445 1705
rect 4115 1690 4125 1695
rect 4085 1680 4125 1690
rect 4435 1685 4445 1695
rect 4465 1695 4795 1705
rect 4465 1685 4475 1695
rect 4435 1675 4475 1685
rect 4785 1690 4795 1695
rect 4815 1695 4865 1710
rect 5120 1695 5140 1940
rect 5160 1945 5170 1980
rect 5205 1945 5215 1980
rect 5160 1935 5215 1945
rect 4815 1690 4825 1695
rect 4785 1680 4825 1690
rect 4785 1620 4805 1680
rect 3940 1600 4185 1620
rect 4725 1600 4805 1620
rect 5120 1010 5140 1185
rect 5160 1010 5210 1020
rect 5120 990 5170 1010
rect 5160 980 5170 990
rect 5200 980 5210 1010
rect 5160 970 5210 980
<< viali >>
rect 5170 3165 5200 3195
rect 4160 2395 4180 2615
rect 4360 2395 4380 2615
rect 4560 2395 4580 2615
rect 4760 2395 4780 2615
rect 4955 2395 4975 2615
rect 4470 2225 4490 2295
rect 4600 2225 4620 2295
rect 4810 2225 4830 2295
rect 4940 2225 4960 2295
rect 4285 2165 4305 2185
rect 5170 2195 5205 2230
rect 4555 2055 4575 2075
rect 4110 1990 4130 2010
rect 4240 1990 4260 2010
rect 4810 1990 4830 2010
rect 4940 1990 4960 2010
rect 4145 1745 4165 1840
rect 4345 1745 4365 1840
rect 4545 1745 4565 1840
rect 4745 1745 4765 1840
rect 4925 1745 4945 1840
rect 5170 1945 5205 1980
rect 5170 980 5200 1010
<< metal1 >>
rect 5160 3195 5210 3205
rect 5160 3165 5170 3195
rect 5200 3165 5210 3195
rect 5160 3155 5210 3165
rect 3990 2615 5060 2685
rect 3990 2395 4160 2615
rect 4180 2395 4360 2615
rect 4380 2395 4560 2615
rect 4580 2395 4760 2615
rect 4780 2395 4955 2615
rect 4975 2395 5060 2615
rect 3990 2295 5060 2395
rect 3990 2225 4470 2295
rect 4490 2225 4600 2295
rect 4620 2225 4810 2295
rect 4830 2225 4940 2295
rect 4960 2225 5060 2295
rect 3990 2185 5060 2225
rect 5160 2230 5215 2240
rect 5160 2195 5170 2230
rect 5205 2195 5215 2230
rect 5160 2185 5215 2195
rect 4275 2165 4285 2185
rect 4305 2165 4315 2185
rect 4275 2155 4315 2165
rect 4295 2105 4315 2155
rect 3990 2085 4565 2105
rect 4545 2075 4585 2085
rect 4545 2055 4555 2075
rect 4575 2055 4585 2075
rect 4545 2045 4585 2055
rect 3990 2010 5060 2025
rect 3990 1990 4110 2010
rect 4130 1990 4240 2010
rect 4260 1990 4810 2010
rect 4830 1990 4940 2010
rect 4960 1990 5060 2010
rect 3990 1840 5060 1990
rect 5160 1980 5215 1990
rect 5160 1945 5170 1980
rect 5205 1945 5215 1980
rect 5160 1935 5215 1945
rect 3990 1745 4145 1840
rect 4165 1745 4345 1840
rect 4365 1745 4545 1840
rect 4565 1745 4745 1840
rect 4765 1745 4925 1840
rect 4945 1745 5060 1840
rect 3990 1730 5060 1745
rect 5160 1010 5210 1020
rect 5160 980 5170 1010
rect 5200 980 5210 1010
rect 5160 970 5210 980
<< via1 >>
rect 5170 3165 5200 3195
rect 5170 2195 5205 2230
rect 5170 1945 5205 1980
rect 5170 980 5200 1010
<< metal2 >>
rect 5160 3195 5210 3205
rect 5160 3165 5170 3195
rect 5200 3165 5210 3195
rect 5160 3155 5210 3165
rect 5160 2230 5215 2240
rect 5160 2195 5170 2230
rect 5205 2195 5215 2230
rect 5160 2185 5215 2195
rect 5160 1980 5215 1990
rect 5160 1945 5170 1980
rect 5205 1945 5215 1980
rect 5160 1935 5215 1945
rect 5160 1010 5210 1020
rect 5160 980 5170 1010
rect 5200 980 5210 1010
rect 5160 970 5210 980
<< via2 >>
rect 5170 3165 5200 3195
rect 5170 2195 5205 2230
rect 5170 1945 5205 1980
rect 5170 980 5200 1010
<< metal3 >>
rect 5160 3200 5210 3205
rect 5160 3195 6365 3200
rect 5160 3165 5170 3195
rect 5200 3165 6365 3195
rect 5160 3155 6365 3165
rect 5160 2230 5215 2240
rect 5160 2195 5170 2230
rect 5205 2195 5215 2230
rect 5160 2185 5215 2195
rect 5335 2170 6365 3155
rect 5160 1980 5215 1990
rect 5160 1945 5170 1980
rect 5205 1945 5215 1980
rect 5160 1935 5215 1945
rect 5335 1020 6365 2005
rect 5160 1010 6365 1020
rect 5160 980 5170 1010
rect 5200 980 6365 1010
rect 5160 975 6365 980
rect 5160 970 5210 975
<< via3 >>
rect 5170 2195 5205 2230
rect 5170 1945 5205 1980
<< mimcap >>
rect 5350 2230 6350 3185
rect 5350 2195 5360 2230
rect 5395 2195 6350 2230
rect 5350 2185 6350 2195
rect 5350 1980 6350 1990
rect 5350 1945 5360 1980
rect 5395 1945 6350 1980
rect 5350 990 6350 1945
<< mimcapcontact >>
rect 5360 2195 5395 2230
rect 5360 1945 5395 1980
<< metal4 >>
rect 5160 2230 5400 2240
rect 5160 2195 5170 2230
rect 5205 2195 5360 2230
rect 5395 2195 5400 2230
rect 5160 2185 5400 2195
rect 5160 1980 5400 1990
rect 5160 1945 5170 1980
rect 5205 1945 5360 1980
rect 5395 1945 5400 1980
rect 5160 1935 5400 1945
<< labels >>
flabel locali 4490 2130 4490 2130 3 FreeSans 160 0 80 0 n_left
flabel locali 4630 2130 4630 2130 3 FreeSans 160 0 80 0 n_right
flabel locali 3940 2545 3940 2545 7 FreeSans 160 0 -80 0 p_bias
flabel locali 4680 2345 4680 2345 4 FreeSans 400 0 0 0 v_common_p
flabel locali 4250 2175 4250 2175 3 FreeSans 160 0 80 0 p_right
<< end >>
